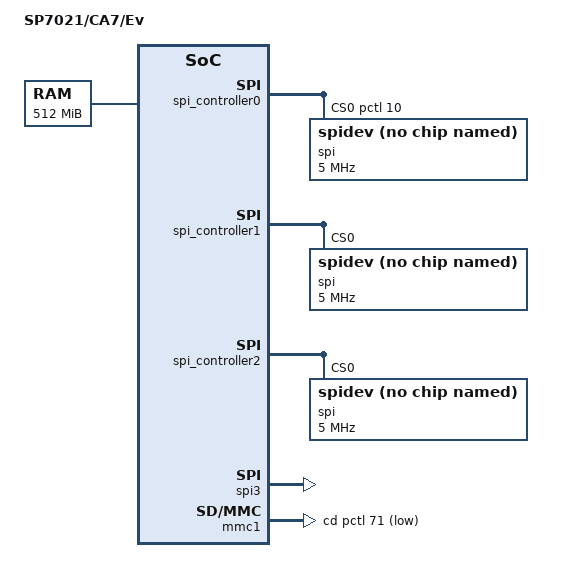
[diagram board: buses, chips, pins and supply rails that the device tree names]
/dts-v1/;

#include "sp7021-ChipC.dtsi"

/ {
	model = "SP7021/CA7/Ev";

	chosen {
		bootargs = "console=tty1 console=ttyS0,115200 root=/dev/ram rw loglevel=8 user_debug=255 earlyprintk";
		stdout-path = "serial0:115200n8";
	};

	memory {
		reg = <0x00000000 0x20000000>; /* 512MB */
	};
};

&sp_display {
	ui_width = <720>;
	ui_height = <480>;
	ui_format = <0xe>;
		/* 0x2 = 8bpp (ARGB)
		 * 0x4 = YUY2
		 * 0x8 = RGB565
		 * 0x9 = ARGB1555
		 * 0xa = RGBA4444
		 * 0xb = ARGB4444
		 * 0xd = RGBA8888
		 * 0xe = ARGB8888 */
};

&spi_controller0 {
	spi-max-frequency = <50000000>;
	pinctrl-names = "default";
	pinctrl-0 = <&pins_spim0>;
	cs-gpios = <&pctl 10 GPIO_ACTIVE_HIGH> ,<&pctl 13 GPIO_ACTIVE_HIGH>;
	#address-cells = <1>;
	#size-cells = <0>;
	spi@0 {
		compatible = "rohm,dh2228fv";
		spi-max-frequency = <5000000>;
		spi-cpha;
		reg = <0x0>;
	};
};

&spi_controller1 {
	spi-max-frequency = <50000000>;
	#address-cells = <1>;
	#size-cells = <0>;
	spi@0 {
		compatible = "rohm,dh2228fv";
		spi-max-frequency = <5000000>;
		reg = <0x0>;
	};
};

&spi_controller2 {
	spi-max-frequency = <50000000>;
	#address-cells = <1>;
	#size-cells = <0>;
	spi@0 {
		compatible = "rohm,dh2228fv";
		spi-max-frequency = <5000000>;
		reg = <0x0>;
	};
};

&spi_controller3 {
	spi-max-frequency = <50000000>;
	pinctrl-names = "default";
	pinctrl-0 = <&pins_spis3>;
	spi-slave;
	#address-cells = <1>;
	#size-cells = <0>;
	spi3: slave@ {
		compatible = "rohm,dh2228fv";
		spi-max-frequency = <5000000>;
		reg = <0x0>;
	};
};

&i2cm0 {
	pinctrl-names = "default";
	pinctrl-0 = <&i2cm0_pins>;
	clock-frequency = <100000>;
	status = "disabled";
};

&i2cm1 {
	clock-frequency = <100000>;
	status = "disabled";
};

&i2cm2 {
	clock-frequency = <100000>;
	status = "disabled";
};

&i2cm3 {
	clock-frequency = <100000>;
	status = "disabled";
};

&uart1 {
	pinctrl-names = "default";
	pinctrl-0 = <&pins_uart1>;
#if 0 //TTYS_GPIO in sp_uart.c
	uart-gpio = <&pctl 0 GPIO_ACTIVE_HIGH>;
#endif
	status = "disabled";
};

&uart2 {
	status = "disabled";
};

&uart3 {
	status = "disabled";
};

&uart4 {
	pinctrl-names = "default";
	pinctrl-0 = <&pins_uart4>;
	status = "disabled";
};

&sdio {
	pinctrl-names = "default";
	pinctrl-0 = <&pins_sdio>;
	status = "disabled";
};

&l2sw {
	pinctrl-names = "default";
	pinctrl-0 = <&l2sw_ev_two_phy_pins>;
	mode = < 0 >;
		/* 0 = daisy-chain mode
		 * 1 = dual NIC mode
		 * 2 = daisy-chain mode (disable SA learning) */
};

&mmc0 {
	pinctrl-names = "default";
	pinctrl-0 = <&emmc_mux>;
};

&mmc1 {
	pinctrl-names = "default";
	pinctrl-0 = <&mmc1_mux &mmc1_mux_cd>;
	cd-gpios = <&pctl 71 GPIO_ACTIVE_LOW>;
	broken-cd;
};

&spinand0 {
	pinctrl-names = "default";
	pinctrl-0 = <&pins_spinand0>;
};

&sp_spinor0 {
	spi-max-frequency = <50000000>;
	spi-chip-selection = <0>;
	read-timing-selection = <1>;
	write-timing-selection = <1>;
	pinctrl-names = "default";
	pinctrl-0 = <&spi_flash2_mux &spi_fla4b2_mux>;
/*
	partitions {
		compatible = "fixed-partitions";
		#address-cells = <1>;
		#size-cells = <1>;
		partition@0 {
			label = "data";
			reg = <0 0x200000>;
		};
		partition@200000 {
			label = "data1";
			reg = <0x200000 0xdff000>;
		};
	};
*/
};

&hdmitx {
	pinctrl-names = "default";
	pinctrl-0 = <&hdmi_A_tx1>;
};

&mipicsi0 {
	i2c-id = <1>;
	pinctrl-names = "default";
	pinctrl-0 = <&mipicsi0_pins>;
};

&mipicsi1 {
	status = "disabled";
};

&rtc {
	charging-mode = <0xE>;
	/*
	 *      0xE     Disable
	 *      0x1     0.86mA (2K Ohm with diode)
	 *      0x5     1.81mA (250 Ohm with diode)
	 *      0x9     2.07mA (50 Ohm with diode)
	 *      0xD     16.0mA (0 Ohm with diode)
	 *      0x3     1.36mA (2K Ohm without diode)
	 *      0x7     3.99mA (250 Ohm without diode)
	 *      0xB     4.41mA (50 Ohm without diode)
	 *      0xF     16.0mA (0 Ohm without diode)    */
};

&audio {
	pinctrl-names = "default";
	pinctrl-0 = <&aud_i2s_in &aud_i2s_out &aud_spdi &aud_spdo &aud_pdmr>;
	status = "disabled";
};

&pctl {
	pinctrl-names = "default";

	i2cm0_pins: i2cm0_pins {
		sppctl,pins = <
			SPPCTL_IOPAD(14,SPPCTL_PCTL_G_PMUX,MUXF_I2CM0_CLK,0)
			SPPCTL_IOPAD(15,SPPCTL_PCTL_G_PMUX,MUXF_I2CM0_DAT,0)
		>;
	};

	pins_spim0: pins_spim0 {
		sppctl,pins = <
			SPPCTL_IOPAD(8,SPPCTL_PCTL_G_PMUX,MUXF_SPIM0_INT,0)
			SPPCTL_IOPAD(9,SPPCTL_PCTL_G_PMUX,MUXF_SPIM0_CLK,0)
			//SPPCTL_IOPAD(10,SPPCTL_PCTL_G_PMUX,MUXF_SPIM0_EN,0)
			SPPCTL_IOPAD(11,SPPCTL_PCTL_G_PMUX,MUXF_SPIM0_DO,0)
			SPPCTL_IOPAD(12,SPPCTL_PCTL_G_PMUX,MUXF_SPIM0_DI,0)
		>;
	};

	pins_spis3: pins_spis3 {
		sppctl,pins = <
			SPPCTL_IOPAD(16,SPPCTL_PCTL_G_PMUX,MUXF_SPI3S_INT,0)
			SPPCTL_IOPAD(18,SPPCTL_PCTL_G_PMUX,MUXF_SPI3S_CLK,0)
			SPPCTL_IOPAD(20,SPPCTL_PCTL_G_PMUX,MUXF_SPI3S_EN,0)
			SPPCTL_IOPAD(22,SPPCTL_PCTL_G_PMUX,MUXF_SPI3S_DO,0)
			SPPCTL_IOPAD(24,SPPCTL_PCTL_G_PMUX,MUXF_SPI3S_DI,0)
		>;
	};

        pins_uart1: pins_uart1 {
		sppctl,pins = <
			SPPCTL_IOPAD(8,SPPCTL_PCTL_G_PMUX,MUXF_UA1_TX,0)
			SPPCTL_IOPAD(9,SPPCTL_PCTL_G_PMUX,MUXF_UA1_RX,0)
	#if 0 //TTYS_GPIO in sp_uart.c
			SPPCTL_IOPAD(0, SPPCTL_PCTL_G_GPIO, 0, 1)
	#endif
		>;
	};

	pins_uart4: pins_uart4 {
		sppctl,pins = <
			SPPCTL_IOPAD(16,SPPCTL_PCTL_G_PMUX,MUXF_UA4_TX,0)
			SPPCTL_IOPAD(18,SPPCTL_PCTL_G_PMUX,MUXF_UA4_RX,0)
			SPPCTL_IOPAD(20,SPPCTL_PCTL_G_PMUX,MUXF_UA4_RTS,0)
			SPPCTL_IOPAD(22,SPPCTL_PCTL_G_PMUX,MUXF_UA4_CTS,0)
		>;
	};

	l2sw_ev_two_phy_pins: pinmux_l2sw_ev_two_phy_pins {
		sppctl,pins = <
			SPPCTL_IOPAD(47,SPPCTL_PCTL_G_PMUX,MUXF_L2SW_CLK_OUT,0)
			SPPCTL_IOPAD(41,SPPCTL_PCTL_G_PMUX,MUXF_L2SW_MAC_SMI_MDC,0)
			SPPCTL_IOPAD(42,SPPCTL_PCTL_G_PMUX,MUXF_L2SW_LED_FLASH0,0)
			SPPCTL_IOPAD(30,SPPCTL_PCTL_G_PMUX,MUXF_L2SW_LED_FLASH1,0)
			SPPCTL_IOPAD(51,SPPCTL_PCTL_G_PMUX,MUXF_L2SW_LED_ON0,0)
			SPPCTL_IOPAD(39,SPPCTL_PCTL_G_PMUX,MUXF_L2SW_LED_ON1,0)
			SPPCTL_IOPAD(40,SPPCTL_PCTL_G_PMUX,MUXF_L2SW_MAC_SMI_MDIO,0)
			SPPCTL_IOPAD(50,SPPCTL_PCTL_G_PMUX,MUXF_L2SW_P0_MAC_RMII_TXEN,0)
			SPPCTL_IOPAD(48,SPPCTL_PCTL_G_PMUX,MUXF_L2SW_P0_MAC_RMII_TXD0,0)
			SPPCTL_IOPAD(49,SPPCTL_PCTL_G_PMUX,MUXF_L2SW_P0_MAC_RMII_TXD1,0)
			SPPCTL_IOPAD(44,SPPCTL_PCTL_G_PMUX,MUXF_L2SW_P0_MAC_RMII_CRSDV,0)
			SPPCTL_IOPAD(45,SPPCTL_PCTL_G_PMUX,MUXF_L2SW_P0_MAC_RMII_RXD0,0)
			SPPCTL_IOPAD(46,SPPCTL_PCTL_G_PMUX,MUXF_L2SW_P0_MAC_RMII_RXD1,0)
			SPPCTL_IOPAD(43,SPPCTL_PCTL_G_PMUX,MUXF_L2SW_P0_MAC_RMII_RXER,0)
			SPPCTL_IOPAD(38,SPPCTL_PCTL_G_PMUX,MUXF_L2SW_P1_MAC_RMII_TXEN,0)
			SPPCTL_IOPAD(36,SPPCTL_PCTL_G_PMUX,MUXF_L2SW_P1_MAC_RMII_TXD0,0)
			SPPCTL_IOPAD(37,SPPCTL_PCTL_G_PMUX,MUXF_L2SW_P1_MAC_RMII_TXD1,0)
			SPPCTL_IOPAD(32,SPPCTL_PCTL_G_PMUX,MUXF_L2SW_P1_MAC_RMII_CRSDV,0)
			SPPCTL_IOPAD(33,SPPCTL_PCTL_G_PMUX,MUXF_L2SW_P1_MAC_RMII_RXD0,0)
			SPPCTL_IOPAD(34,SPPCTL_PCTL_G_PMUX,MUXF_L2SW_P1_MAC_RMII_RXD1,0)
			SPPCTL_IOPAD(31,SPPCTL_PCTL_G_PMUX,MUXF_L2SW_P1_MAC_RMII_RXER,0)
		>;
		sppctl,zero_func = <
			MUXF_DAISY_MODE
		>;
	};

	l2sw_ev_one_phy_pins: pinmux_l2sw_ev_one_phy_pins {
		sppctl,pins = <
			SPPCTL_IOPAD(47,SPPCTL_PCTL_G_PMUX,MUXF_L2SW_CLK_OUT,0)
			SPPCTL_IOPAD(41,SPPCTL_PCTL_G_PMUX,MUXF_L2SW_MAC_SMI_MDC,0)
			SPPCTL_IOPAD(42,SPPCTL_PCTL_G_PMUX,MUXF_L2SW_LED_FLASH0,0)
			SPPCTL_IOPAD(51,SPPCTL_PCTL_G_PMUX,MUXF_L2SW_LED_ON0,0)
			SPPCTL_IOPAD(40,SPPCTL_PCTL_G_PMUX,MUXF_L2SW_MAC_SMI_MDIO,0)
			SPPCTL_IOPAD(50,SPPCTL_PCTL_G_PMUX,MUXF_L2SW_P0_MAC_RMII_TXEN,0)
			SPPCTL_IOPAD(48,SPPCTL_PCTL_G_PMUX,MUXF_L2SW_P0_MAC_RMII_TXD0,0)
			SPPCTL_IOPAD(49,SPPCTL_PCTL_G_PMUX,MUXF_L2SW_P0_MAC_RMII_TXD1,0)
			SPPCTL_IOPAD(44,SPPCTL_PCTL_G_PMUX,MUXF_L2SW_P0_MAC_RMII_CRSDV,0)
			SPPCTL_IOPAD(45,SPPCTL_PCTL_G_PMUX,MUXF_L2SW_P0_MAC_RMII_RXD0,0)
			SPPCTL_IOPAD(46,SPPCTL_PCTL_G_PMUX,MUXF_L2SW_P0_MAC_RMII_RXD1,0)
			SPPCTL_IOPAD(43,SPPCTL_PCTL_G_PMUX,MUXF_L2SW_P0_MAC_RMII_RXER,0)
		>;
		sppctl,zero_func = <
			MUXF_L2SW_LED_FLASH1
			MUXF_L2SW_LED_ON1
			MUXF_L2SW_P1_MAC_RMII_TXEN
			MUXF_L2SW_P1_MAC_RMII_TXD0
			MUXF_L2SW_P1_MAC_RMII_TXD1
			MUXF_L2SW_P1_MAC_RMII_CRSDV
			MUXF_L2SW_P1_MAC_RMII_RXD0
			MUXF_L2SW_P1_MAC_RMII_RXD1
			MUXF_L2SW_P1_MAC_RMII_RXER
			MUXF_DAISY_MODE
		>;
	};

	pins_sdio: pins_sdio {
		sppctl,pins = <
			SPPCTL_IOPAD(17,SPPCTL_PCTL_G_PMUX,MUXF_SDIO_D1,0)
			SPPCTL_IOPAD(19,SPPCTL_PCTL_G_PMUX,MUXF_SDIO_D0,0)
			SPPCTL_IOPAD(21,SPPCTL_PCTL_G_PMUX,MUXF_SDIO_CLK,0)
			SPPCTL_IOPAD(23,SPPCTL_PCTL_G_PMUX,MUXF_SDIO_CMD,0)
			SPPCTL_IOPAD(25,SPPCTL_PCTL_G_PMUX,MUXF_SDIO_D3,0)
			SPPCTL_IOPAD(27,SPPCTL_PCTL_G_PMUX,MUXF_SDIO_D2,0)
		>;
	};

	mmc1_mux_cd: mmc1_mux_cd {
		sppctl,pins = < SPPCTL_IOPAD(71,SPPCTL_PCTL_G_GPIO,0,0) >;
	};

	mipicsi0_pins: pinmux_mipicsi0_pins {
		sppctl,pins = <
			SPPCTL_IOPAD(11,SPPCTL_PCTL_G_PMUX,MUXF_I2CM1_DAT,0)
			SPPCTL_IOPAD(12,SPPCTL_PCTL_G_PMUX,MUXF_I2CM1_CLK,0)
		>;
	};
};
